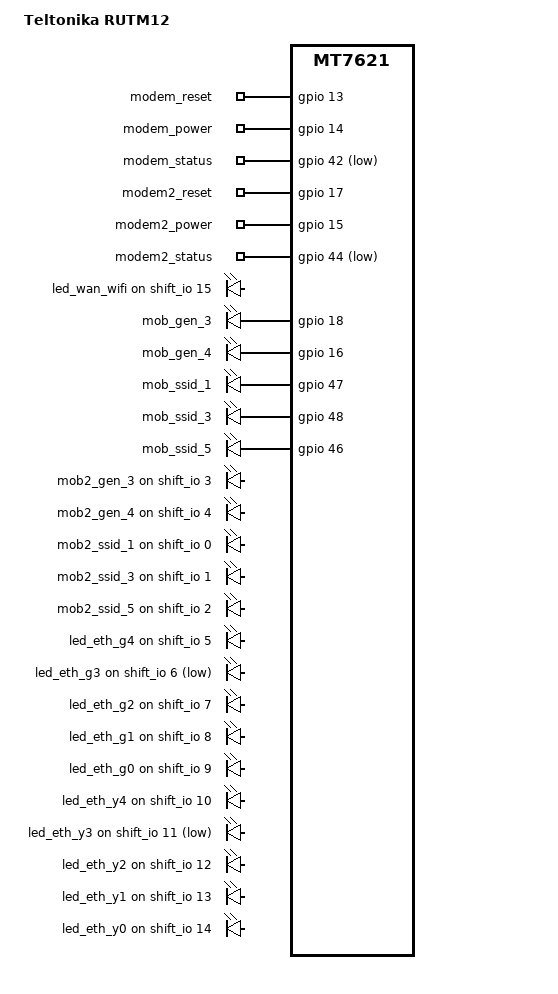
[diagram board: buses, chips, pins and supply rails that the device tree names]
#include "common-mt7621/rutm.dtsi"
#include "common-mt7621/input-output.dtsi"
#include "common-mt7621/shiftreg.dtsi"
#include "common-mt7621/eth/4-lan-ports.dtsi"
#include "common-mt7621/leds/wan.dtsi"
#include "common-mt7621/leds/wifi.dtsi"

// PWR, RST |G0|G10|
// IN, OUT  |G8|G12|
// SR CTRL  |G5|G9|G11|
// WAN      |G41|G43|G45|S15|
// WIFI     |G6|G7|
// ETH      |S5-S14|
// 4G		|G13|G14|G16|G18|G42|G46|G47|G48|
// 4G 2		|G15|G17|G44|S0|S1|S2|S3|S4|
/ {
	model = "Teltonika RUTM12";

	ext_io {
		shift_io: shift_io@0 {
			/delete-property/ enable-gpios;
		};
	};

	gpio-export {
		compatible = "gpio-export";
		#size-cells = <0>;

		gpio_modem_reset_1 {
			gpio-export,name = "modem_reset";
			gpio-export,output = <0>;
			gpios = <&gpio 13 GPIO_ACTIVE_HIGH>;
		};

		gpio_modem_power_1 {
			gpio-export,name = "modem_power";
			gpio-export,output = <1>; //tmp
			gpios = <&gpio 14 GPIO_ACTIVE_HIGH>;
		};

		gpio_modem_status_1 {
			gpio-export,name = "modem_status";
			gpio-export,input = <0>;
			gpios = <&gpio 42 GPIO_ACTIVE_LOW>;
		};

		gpio_modem_reset_2 {
			gpio-export,name = "modem2_reset";
			gpio-export,output = <0>;
			gpios = <&gpio 17 GPIO_ACTIVE_HIGH>;
		};

		gpio_modem_power_2 {
			gpio-export,name = "modem2_power";
			gpio-export,output = <1>; //tmp
			gpios = <&gpio 15 GPIO_ACTIVE_HIGH>;
		};

		gpio_modem_status_2 {
			gpio-export,name = "modem2_status";
			gpio-export,input = <0>;
			gpios = <&gpio 44 GPIO_ACTIVE_LOW>;
		};
	};

	leds {
		led_wan_wifi {
			gpios = <&shift_io 15 GPIO_ACTIVE_HIGH>;
		};

		led_gen_3 {
			label = "mob_gen_3";
			gpios = <&gpio 18 GPIO_ACTIVE_HIGH>;
		};

		led_gen_4 {
			label = "mob_gen_4";
			gpios = <&gpio 16 GPIO_ACTIVE_HIGH>;
		};

		led_ssid_1 {
			label = "mob_ssid_1";
			gpios = <&gpio 47 GPIO_ACTIVE_HIGH>;
			linux,default-trigger = "timer"; // only
		};

		led_ssid_3 {
			label = "mob_ssid_3";
			gpios = <&gpio 48 GPIO_ACTIVE_HIGH>;
			linux,default-trigger = "timer"; // only
		};

		led_ssid_5 {
			label = "mob_ssid_5";
			gpios = <&gpio 46 GPIO_ACTIVE_HIGH>;
			linux,default-trigger = "timer"; //only
		};

		led_gen2_3 {
			label = "mob2_gen_3";
			gpios = <&shift_io 3 GPIO_ACTIVE_HIGH>;
		};

		led_gen2_4 {
			label = "mob2_gen_4";
			gpios = <&shift_io 4 GPIO_ACTIVE_HIGH>;
		};

		led_ssid2_1 {
			label = "mob2_ssid_1";
			gpios = <&shift_io 0 GPIO_ACTIVE_HIGH>;
			linux,default-trigger = "timer"; // only
		};

		led_ssid2_3 {
			label = "mob2_ssid_3";
			gpios = <&shift_io 1 GPIO_ACTIVE_HIGH>;
			linux,default-trigger = "timer"; // only
		};

		led_ssid2_5 {
			label = "mob2_ssid_5";
			gpios = <&shift_io 2 GPIO_ACTIVE_HIGH>;
			linux,default-trigger = "timer"; //only
		};

		led_eth_g4 {
			gpios = <&shift_io 5 GPIO_ACTIVE_HIGH>;
		};

		led_eth_g3 {
			gpios = <&shift_io 6 GPIO_ACTIVE_LOW>;
		};

		led_eth_g2 {
			gpios = <&shift_io 7 GPIO_ACTIVE_HIGH>;
		};

		led_eth_g1 {
			gpios = <&shift_io 8 GPIO_ACTIVE_HIGH>;
		};

		led_eth_g0 {
			gpios = <&shift_io 9 GPIO_ACTIVE_HIGH>;
		};

		led_eth_y4 {
			gpios = <&shift_io 10 GPIO_ACTIVE_HIGH>;
		};

		led_eth_y3 {
			gpios = <&shift_io 11 GPIO_ACTIVE_LOW>;
		};

		led_eth_y2 {
			gpios = <&shift_io 12 GPIO_ACTIVE_HIGH>;
		};

		led_eth_y1 {
			gpios = <&shift_io 13 GPIO_ACTIVE_HIGH>;
		};

		led_eth_y0 {
			gpios = <&shift_io 14 GPIO_ACTIVE_HIGH>;
		};
	};

	tlt_gpios {
		misc {
			GPIO_13 {
				line_name = "GPIO_MODEM_RESET_1";
			};
			GPIO_17 {
				line_name = "GPIO_MODEM_RESET_2";
			};
			GPIO_14 {
				line_name = "GPIO_MODEM_POWER_1";
			};
			GPIO_15 {
				line_name = "GPIO_MODEM_POWER_2";
			};
			GPIO_44 {
				line_name = "GPIO_MODEM_STATUS_1";
			};
			GPIO_42 {
				line_name = "GPIO_MODEM_STATUS_2";
			};
		};
	};
};

&mnfinfo {
	simpin3 {
		default = "";
		sec;
	};

	simpin4 {
		default = "";
		sec;
	};

	sim_cfg {
		default = "1111010_0000000_1211010_0000000";
	};
};
